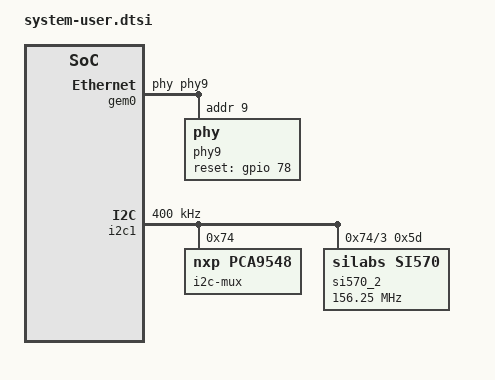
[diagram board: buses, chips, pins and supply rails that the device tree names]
/include/ "system-conf.dtsi"
/ {
};
&gem0 {
    phy-handle = <&phy9>;
    phy9: phy@9 {
      reg = <0x9>;
      xlnx,phy-type = <0x4>;
		reset-gpios = <&gpio 78 0>;
    };
};

 &i2c1 {
    status = "okay";
    clock-frequency = <400000>;
    i2c-mux@74 { /* u34 */
        compatible = "nxp,pca9548";
        #address-cells = <1>;
        #size-cells = <0>;
        reg = <0x74>;
        i2c@3 { /* i2c mw 74 0 8 */
            #address-cells = <1>;
            #size-cells = <0>;
            reg = <3>;
            si570_2: clock-generator3@5d {
                #clock-cells = <0>;
                compatible = "silabs,si570";
                reg = <0x5d>;
                temperature-stability = <50>;
                factory-fout = <156250000>;
                clock-frequency = <156250000>;
            };
        };
    };
};
